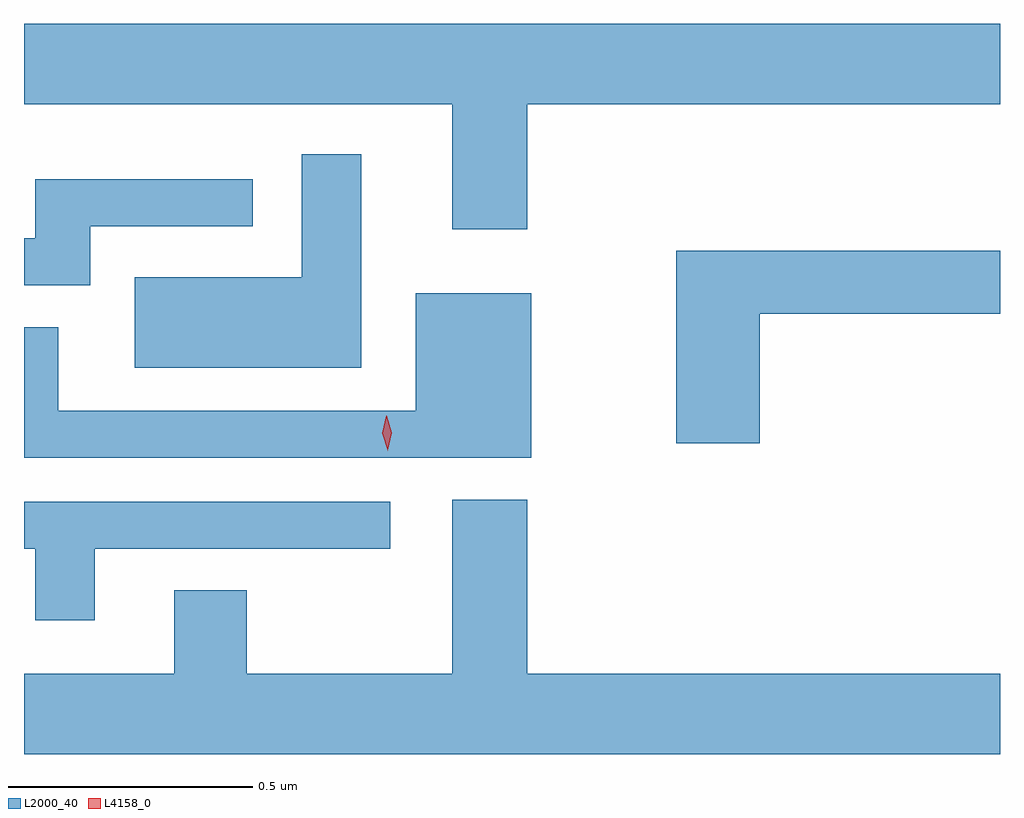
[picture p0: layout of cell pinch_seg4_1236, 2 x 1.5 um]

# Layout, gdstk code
import gdstk
lib = gdstk.Library(unit=1e-6, precision=1e-09)
def P(c, l, *ps):  # polygons
    for p in ps: c.add(gdstk.Polygon(p, *l))
L2000_40 = (2000, 40)
L4158_0 = (4158, 0)

pinch_seg4_1236 = lib.new_cell('pinch_seg4_1236')
P(pinch_seg4_1236, L2000_40, [(391.478,808.808),(392.447,808.808),(392.447,808.972),(390.447,808.972),(390.447,808.808),(391.325,808.808),(391.325,808.551),(391.478,808.551)],
  [(391.138,808.705),(391.016,808.705),(391.016,808.453),(390.674,808.453),(390.674,808.268),(391.138,808.268)],
  [(390.583,808.557),(390.916,808.557),(390.916,808.654),(390.47,808.654),(390.47,808.533),(390.447,808.533),(390.447,808.437),(390.583,808.437)],
  [(391.955,808.378),(392.447,808.378),(392.447,808.507),(391.784,808.507),(391.784,808.113),(391.955,808.113)],
  [(391.486,808.42),(391.25,808.42),(391.25,808.179),(390.517,808.179),(390.517,808.351),(390.447,808.351),(390.447,808.083),(391.486,808.083)],
  [(392.447,807.64),(391.478,807.64),(391.478,807.997),(391.325,807.997),(391.325,807.64),(390.903,807.64),(390.903,807.812),(390.755,807.812),(390.755,807.64),(390.447,807.64),(390.447,807.476),(392.447,807.476)],
  [(390.592,807.897),(391.198,807.897),(391.198,807.993),(390.447,807.993),(390.447,807.897),(390.47,807.897),(390.47,807.75),(390.592,807.75)])
P(pinch_seg4_1236, L4158_0, [(391.192,808.097),(391.192,808.098),(391.181,808.133),(391.189,808.169),(391.189,808.169),(391.19,808.169),(391.201,808.134),(391.192,808.098)])

lib.write_gds('pinch_seg4_1236.gds')
